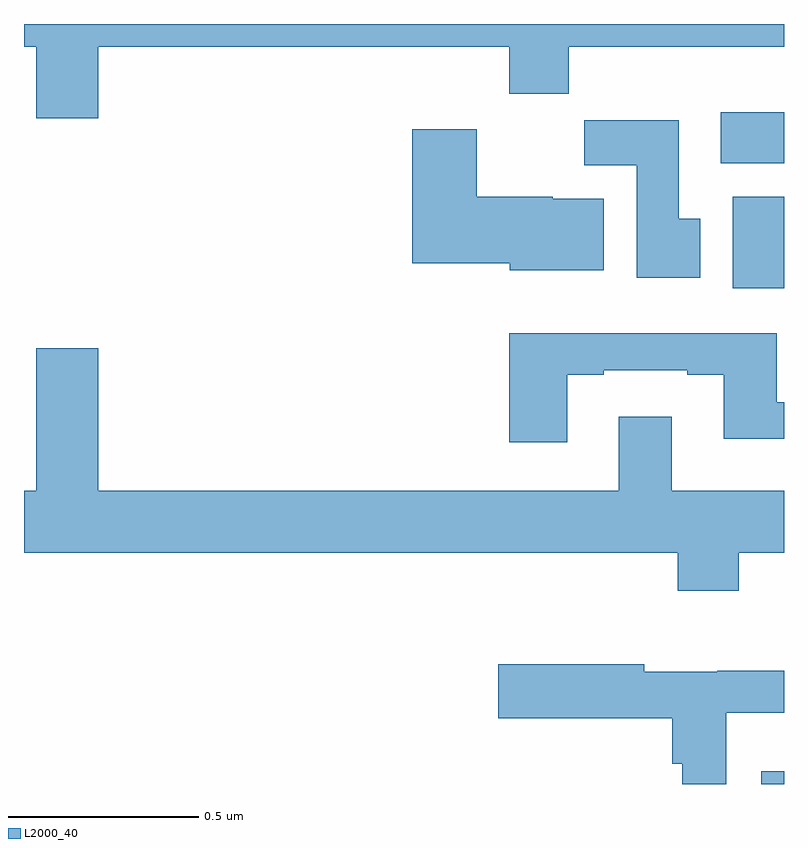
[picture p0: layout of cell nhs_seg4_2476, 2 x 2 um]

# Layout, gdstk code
import gdstk
lib = gdstk.Library(unit=1e-6, precision=1e-09)
def R(c, l, rs):  # rectangles x0, y0, x1, y1
    for r in rs: c.add(gdstk.rectangle(r[:2], r[2:], *l))
def P(c, l, *ps):  # polygons
    for p in ps: c.add(gdstk.Polygon(p, *l))
L2000_40 = (2000, 40)

nhs_seg4_2476 = lib.new_cell('nhs_seg4_2476')
R(nhs_seg4_2476, L2000_40, [(142.94,774.9,143,774.934), (142.865,776.204,143,776.446), (142.833,776.534,143,776.668)])
P(nhs_seg4_2476, L2000_40, [(142.433,776.84),(143,776.84),(143,776.9),(141,776.9),(141,776.84),(141.032,776.84),(141.032,776.652),(141.196,776.652),(141.196,776.84),(142.277,776.84),(142.277,776.716),(142.433,776.716)],
  [(142.78,776.388),(142.723,776.388),(142.723,776.647),(142.474,776.647),(142.474,776.528),(142.613,776.528),(142.613,776.232),(142.78,776.232)],
  [(142.525,776.44),(142.392,776.44),(142.392,776.446),(142.192,776.446),(142.192,776.623),(142.022,776.623),(142.022,776.27),(142.278,776.27),(142.278,776.252),(142.525,776.252)],
  [(142.429,775.977),(142.525,775.977),(142.525,775.989),(142.745,775.989),(142.745,775.977),(142.841,775.977),(142.841,775.808),(143,775.808),(143,775.905),(142.981,775.905),(142.981,776.086),(142.277,776.086),(142.277,775.8),(142.429,775.8)],
  [(142.881,775.508),(143,775.508),(143,775.672),(142.705,775.672),(142.705,775.867),(142.565,775.867),(142.565,775.672),(141.196,775.672),(141.196,776.047),(141.032,776.047),(141.032,775.672),(141,775.672),(141,775.508),(142.721,775.508),(142.721,775.409),(142.881,775.409)],
  [(142.848,775.088),(143,775.088),(143,775.198),(142.824,775.198),(142.824,775.195),(142.632,775.195),(142.632,775.215),(142.248,775.215),(142.248,775.073),(142.706,775.073),(142.706,774.953),(142.732,774.953),(142.732,774.9),(142.848,774.9)])

lib.write_gds('nhs_seg4_2476.gds')
